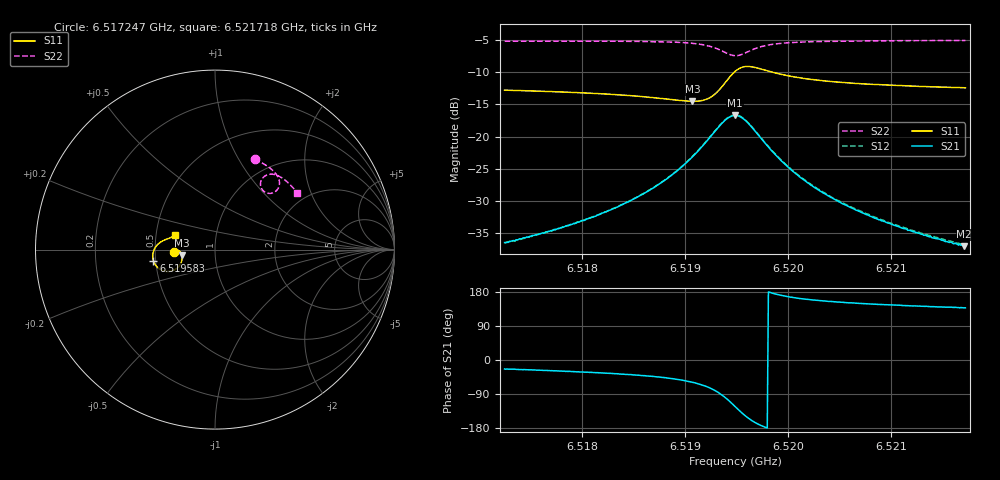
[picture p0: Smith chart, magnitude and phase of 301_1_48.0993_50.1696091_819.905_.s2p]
#  HZ  S  RI  R  50.00
! Rohde & Schwarz Vector Network Analyzer
! Rohde-Schwarz,ZNB20-2Port,1311601062101988,3.16
! Created: UTC 12/23/2023, 4:04:45 AM
! freq[Hz]  re:S11  im:S11  re:S21  im:S21  re:S12  im:S12  re:S22  im:S22
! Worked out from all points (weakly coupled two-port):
!   401 points, 6.517247 GHz to 6.521718 GHz, reference 50 ohm
!   highest |S21| = -16.72 dB at 6.519483 GHz (marker M1); lowest = -37.0 dB at 6.521707 GHz (marker M2)
!   lowest |S11| = -14.5 dB at 6.519069 GHz (marker M3), VSWR 1.46, Z = 34.3 - j2.34 ohm
!   |S11| at or under -10 dB: start of sweep to 6.519476 GHz; 6.519842 GHz to end of sweep
!   |S22| runs from -7.5 to -5.1 dB; largest |S21 - S12| = 0.0048
!   S11 on the Smith chart (normalised r, x): 6.517247 GHz: 0.63, -0.02; 6.519583 GHz: 0.49, -0.07; 6.521718 GHz: 0.63, +0.11
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6.5172469e9  -0.2288 -0.0117  0.0138 -0.00604  0.0139 -0.00549  0.2205 0.5024
6.5176158e9  -0.2244 -0.00658  0.0159 -0.00826  0.0161 -0.00771  0.2478 0.4898
6.5179959e9  -0.2183 -0.00269  0.019 -0.0117  0.0192 -0.011  0.2758 0.4747
6.5184206e9  -0.2089 -0.00167  0.0241 -0.0189  0.0248 -0.018  0.3077 0.4531
6.5187448e9  -0.1983 -0.00735  0.0304 -0.0302  0.0312 -0.0294  0.3329 0.43
6.5189125e9  -0.1911 -0.0162  0.034 -0.0414  0.0355 -0.0406  0.346 0.4131
6.519069e9  -0.1848 -0.0329  0.0363 -0.0595  0.0384 -0.0588  0.3563 0.3903
6.5191807e9  -0.184 -0.0545  0.0332 -0.0802  0.0361 -0.08  0.3593 0.3671
6.519259e9  -0.1902 -0.0765  0.0243 -0.1001  0.0274 -0.1003  0.3545 0.3464
6.5193931e9  -0.2375 -0.1181  -0.0242 -0.1331  -0.0204 -0.1348  0.3171 0.3142
6.5194826e9  -0.2986 -0.1141  -0.0783 -0.123  -0.0754 -0.1263  0.2744 0.3228
6.5195273e9  -0.3249 -0.0943  -0.0996 -0.1028  -0.0975 -0.1065  0.2594 0.3402
6.5195832e9  -0.3435 -0.0611  -0.1125 -0.0719  -0.1111 -0.0757  0.2534 0.3662
6.5196949e9  -0.3406 -0.00346  -0.1037 -0.0227  -0.1039 -0.0259  0.2708 0.4039
6.5198067e9  -0.3206 0.0276  -0.083 0.000567  -0.0838 -0.00178  0.2971 0.4182
6.5200079e9  -0.2906 0.0492  -0.0555 0.0132  -0.0564 0.0119  0.3335 0.4179
6.5202315e9  -0.2706 0.0578  -0.0387 0.0151  -0.0394 0.0142  0.3607 0.4073
6.5205333e9  -0.2544 0.0636  -0.0265 0.0141  -0.0273 0.0135  0.387 0.3897
6.5209804e9  -0.2402 0.07  -0.0175 0.0121  -0.018 0.0117  0.4172 0.3631
6.5214164e9  -0.2306 0.0758  -0.0126 0.0103  -0.0133 0.0102  0.4414 0.3363
6.521707e9  -0.2254 0.0797  -0.0104 0.00955  -0.011 0.00945  0.4559 0.3181
6.5217182e9  -0.2252 0.0799  -0.0105 0.00958  -0.0109 0.00945  0.4564 0.3177
